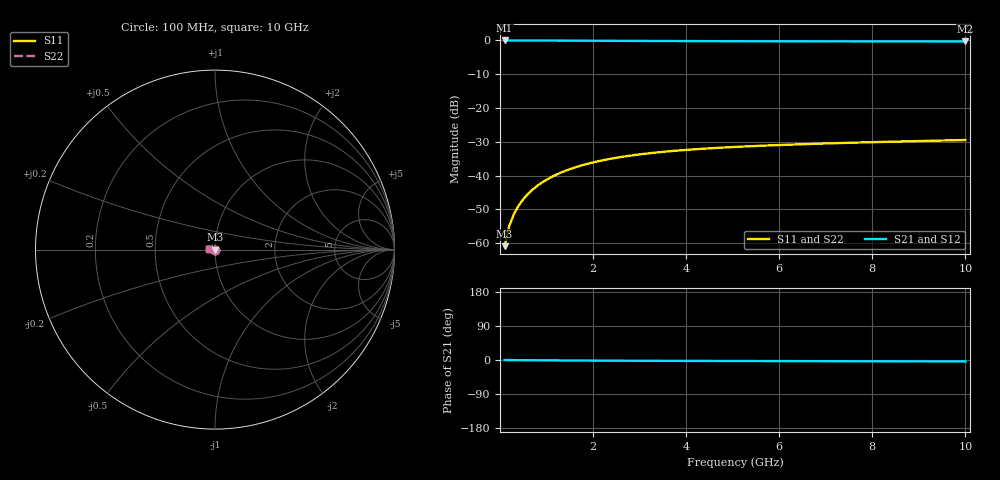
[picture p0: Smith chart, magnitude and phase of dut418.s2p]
! Touchstone file exported from HFSS 2024.1.0
!  File:  C:/UserFiles/LocalFiles/RDL_TSV_Batchsim/temp_TSV1_418_1779693092.aedt
!  Generated:  03:16:42 PM May 25, 2026
!  Design:  TSV1
!  Project:  temp_TSV1_418_1779693092
!  Setup:  Setup1
!  Solution:  Sweep
! Variables:
!  dtsv = 10.53um
!  hbump = 3um
!  htsv = 56.98um
!  lrdl = 252.1521522um
!  p = 40
!  p1 = 53.73um
!  t = 500um
!  trdl = 3um
!  wrdl = 24.89489489um
# GHz S MA R 50.000000
! Terminal data exported
! Port[1] = TSV22_T1
! Port[2] = TSV22_T2
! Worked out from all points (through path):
!   100 points, 100 MHz to 10 GHz, reference 50 ohm
!   highest |S21| = 0.00 dB at 100 MHz (marker M1); lowest = -0.3 dB at 10 GHz (marker M2)
!   lowest |S11| = -60.9 dB at 100 MHz (marker M3), VSWR 1.00, Z = 50 - j0.0896 ohm
!   |S11| at or under -10 dB: start of sweep to end of sweep
!   |S22| runs from -60.9 to -29.5 dB; largest |S21 - S12| = 5.2e-15
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0.1  0.0008993 -85.2  0.9999 -0.1  0.9999 -0.1  0.0008993 -85.2
! Gamma 0 0 0 0
! Port Impedance 50 0 50 0
0.2  0.001791 -90.3  0.9998 -0.2  0.9998 -0.2  0.001791 -90.3
0.3  0.002684 -93.4  0.9996 -0.3  0.9996 -0.3  0.002684 -93.4
0.4  0.003573 -95.9  0.9994 -0.4  0.9994 -0.4  0.003573 -95.9
0.5  0.004455 -98.2  0.9991 -0.5  0.9991 -0.5  0.004455 -98.2
0.6  0.005326 -100.4  0.9987 -0.6  0.9987 -0.6  0.005326 -100.4
0.7  0.006184 -102.5  0.9983 -0.6  0.9983 -0.6  0.006184 -102.5
0.8  0.007027 -104.6  0.9979 -0.7  0.9979 -0.7  0.007027 -104.6
0.9  0.007854 -106.6  0.9974 -0.8  0.9974 -0.8  0.007854 -106.6
1.1  0.009454 -110.4  0.9963 -1.0  0.9963 -1.0  0.009454 -110.4
1.4  0.0117 -115.9  0.9945 -1.2  0.9945 -1.2  0.0117 -115.9
1.6  0.0131 -119.4  0.9932 -1.3  0.9932 -1.3  0.0131 -119.4
1.8  0.0144 -122.8  0.9918 -1.5  0.9918 -1.5  0.0144 -122.8
2.1  0.0162 -127.5  0.9898 -1.6  0.9898 -1.6  0.0162 -127.5
2.5  0.01831 -133.3  0.9871 -1.8  0.9871 -1.8  0.01831 -133.3
2.9  0.02013 -138.6  0.9845 -2.0  0.9845 -2.0  0.02013 -138.6
3.4  0.02205 -144.6  0.9816 -2.2  0.9816 -2.2  0.02205 -144.6
4.2  0.02449 -152.9  0.9777 -2.4  0.9777 -2.4  0.02449 -152.9
5.1  0.0266 -160.7  0.9742 -2.7  0.9742 -2.7  0.0266 -160.7
6.7  0.02939 -172.1  0.9699 -3.1  0.9699 -3.1  0.02939 -172.1
8.4  0.03168 178.3  0.967 -3.5  0.967 -3.5  0.03168 178.3
10  0.03357 170.7  0.9651 -3.9  0.9651 -3.9  0.03357 170.7
